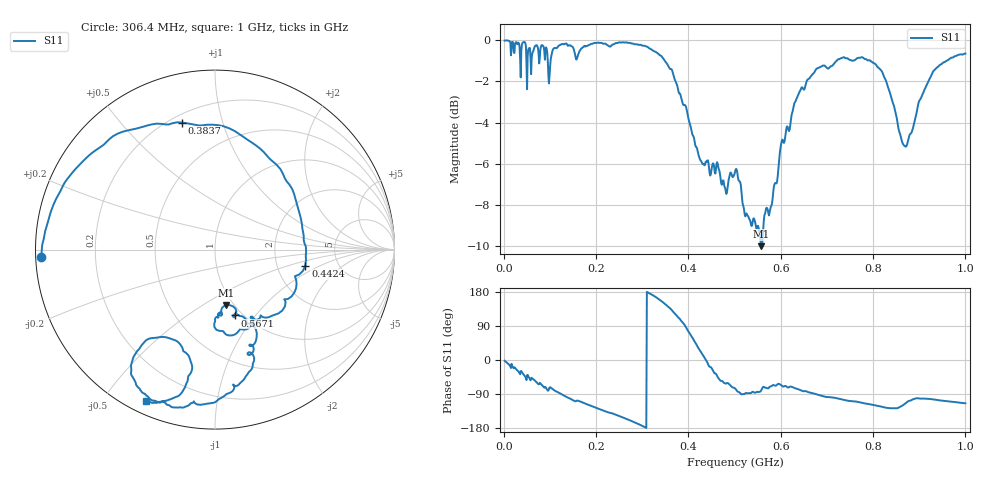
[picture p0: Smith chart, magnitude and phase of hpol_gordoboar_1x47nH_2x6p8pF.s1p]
!Agilent N9923A: A.07.32
!Date: Sunday, 08 November 2020 06:45:05
!Model: N9923A
!Serial: MY52412229
!GPS Latitude:
!GPS Longitude:
!GPS TimeStamp: 0001-01-01 00:00:00Z
!GPS Seconds Since Last Read: 0
!CHECKSUM:0534829777
!Correction: S11(ON U)
!S1P File: Measurement: S11:
# Hz S DB R 50
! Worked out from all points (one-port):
!   801 points, 2 MHz to 1 GHz, reference 50 ohm
!   lowest |S11| = -10.0 dB at 558.4 MHz (marker M1), VSWR 1.93, Z = 46 - j31.7 ohm
!   |S11| at or under -10 dB: nowhere
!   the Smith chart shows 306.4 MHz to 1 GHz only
!   S11 on the Smith chart (normalised r, x): 306.4 MHz: 0.02, -0.02; 383.7 MHz: 0.25, +0.75; 442.4 MHz: 2.90, -0.71; 567.1 MHz: 0.93, -0.80; 1 GHz: 0.05, -0.64
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2000000  -0.02 -2.0
4.4415e7  -0.08 -40.0
8.683e7  -0.33 -71.3
1.005525e8  -1.27 -71.9
1.2675e8  -0.18 -91.4
1.928675e8  -0.16 -122.7
2.515e8  -0.10 -148.4
3.0639e8  -0.28 -177.6
3.43815e8  -0.83 153.4
3.7625e8  -2.23 114.9
3.83735e8  -2.72 104.4
3.974575e8  -3.49 80.5
4.149225e8  -5.09 45.7
4.423675e8  -5.83 -10.2
4.6607e8  -6.27 -49.4
5.01e8  -6.40 -74.9
5.172175e8  -7.88 -90.2
5.58385e8  -10.00 -78.8
5.671175e8  -8.32 -72.9
6.2575e8  -3.46 -71.7
6.793925e8  -1.36 -91.2
7.505e8  -0.96 -108.4
8.265975e8  -1.90 -125.5
8.565375e8  -4.42 -124.9
8.7525e8  -4.92 -109.5
8.939625e8  -3.55 -101.0
9.313875e8  -1.48 -104.3
1e9  -0.65 -114.3
